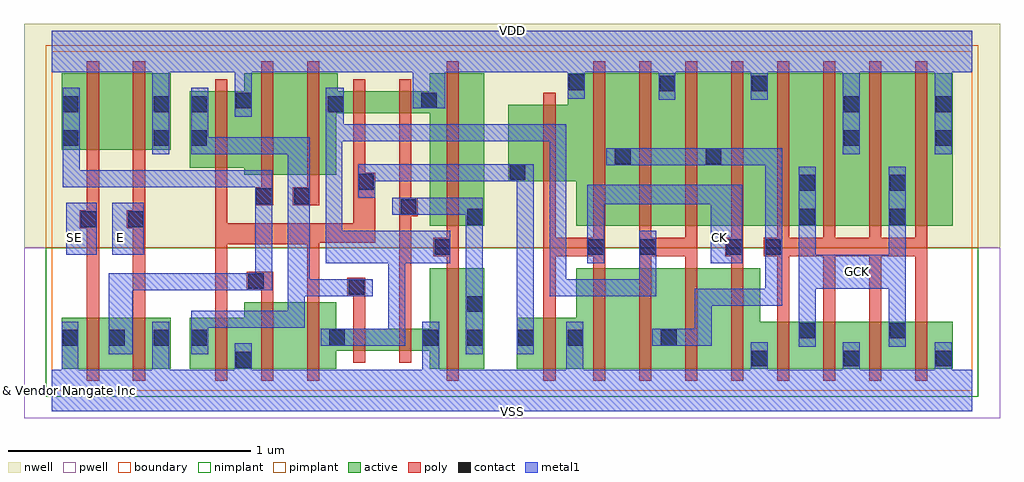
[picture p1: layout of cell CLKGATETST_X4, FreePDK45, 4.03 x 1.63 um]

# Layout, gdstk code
import gdstk
lib = gdstk.Library(unit=1e-6, precision=1e-10)
def R(c, l, rs):  # rectangles x0, y0, x1, y1
    for r in rs: c.add(gdstk.rectangle(r[:2], r[2:], *l))
def A(c, l, x, y, w, h, nx, ny, dx, dy):  # array of equal rectangles
    R(c, l, [(x+i*dx, y+j*dy, x+i*dx+w, y+j*dy+h) for i in range(nx) for j in range(ny)])
def P(c, l, *ps):  # polygons
    for p in ps: c.add(gdstk.Polygon(p, *l))
active = (1, 0)
pwell = (2, 0)
nwell = (3, 0)
nimplant = (4, 0)
pimplant = (5, 0)
poly = (9, 0)
contact = (10, 0)
metal1 = (11, 0)
boundary = (235, 0)

clkgatetst_x4 = lib.new_cell('CLKGATETST_X4')
R(clkgatetst_x4, active, [(0.04,0.09,0.49,0.3), (0.04,0.995,0.49,1.31)])
P(clkgatetst_x4, active, [(0.57,0.09),(0.57,0.3),(0.795,0.3),(0.795,0.365),(1.175,0.365),(1.175,0.255),(1.56,0.255),(1.56,0.505),(1.785,0.505),(1.785,0.09),(1.56,0.09),(1.56,0.165),(1.175,0.165),(1.175,0.09)],
  [(1.56,0.68),(1.56,1.145),(1.175,1.145),(1.175,0.89),(0.795,0.89),(0.795,0.92),(0.57,0.92),(0.57,1.235),(0.795,1.235),(0.795,1.31),(1.18,1.31),(1.18,1.235),(1.56,1.235),(1.56,1.31),(1.785,1.31),(1.785,0.68)],
  [(1.92,0.09),(1.92,0.3),(2.165,0.3),(2.165,0.505),(2.925,0.505),(2.925,0.285),(3.72,0.285),(3.72,0.09)],
  [(2.165,0.68),(2.165,0.865),(1.885,0.865),(1.885,1.18),(2.13,1.18),(2.13,1.31),(3.72,1.31),(3.72,0.68)])
R(clkgatetst_x4, pwell, [(-0.115,-0.115,3.915,0.59)])
R(clkgatetst_x4, nwell, [(-0.115,0.59,3.915,1.515)])
R(clkgatetst_x4, nimplant, [(-0.025,-0.025,3.825,0.59)])
R(clkgatetst_x4, pimplant, [(-0.025,0.59,3.825,1.425)])
P(clkgatetst_x4, poly, [(0.145,0.04),(0.145,0.67),(0.115,0.67),(0.115,0.745),(0.145,0.745),(0.145,1.36),(0.195,1.36),(0.195,0.04)],
  [(0.335,0.04),(0.335,0.67),(0.31,0.67),(0.31,0.745),(0.335,0.745),(0.335,1.36),(0.385,1.36),(0.385,0.04)],
  [(0.865,0.04),(0.865,0.415),(0.805,0.415),(0.805,0.49),(0.915,0.49),(0.915,0.04)],
  [(0.84,0.765),(0.84,0.84),(0.865,0.84),(0.865,1.36),(0.915,1.36),(0.915,0.765)],
  [(0.995,0.765),(0.995,0.84),(1.055,0.84),(1.055,1.36),(1.105,1.36),(1.105,0.765)],
  [(1.245,0.115),(1.245,0.39),(1.22,0.39),(1.22,0.465),(1.295,0.465),(1.295,0.115)],
  [(0.675,0.04),(0.675,1.285),(0.725,1.285),(0.725,0.69),(1.245,0.69),(1.245,1.285),(1.295,1.285),(1.295,0.9),(1.335,0.9),(1.335,0.61),(1.105,0.61),(1.105,0.04),(1.055,0.04),(1.055,0.605),(0.725,0.605),(0.725,0.04)],
  [(1.435,0.115),(1.435,1.285),(1.485,1.285),(1.485,0.795),(1.51,0.795),(1.51,0.72),(1.485,0.72),(1.485,0.115)],
  [(1.63,0.04),(1.63,0.555),(1.575,0.555),(1.575,0.63),(1.63,0.63),(1.63,1.36),(1.68,1.36),(1.68,0.04)],
  [(2.03,0.04),(2.03,1.23),(2.08,1.23),(2.08,0.63),(2.235,0.63),(2.235,1.36),(2.285,1.36),(2.285,0.04),(2.235,0.04),(2.235,0.555),(2.08,0.555),(2.08,0.04)],
  [(2.425,0.04),(2.425,1.36),(2.475,1.36),(2.475,0.63),(2.615,0.63),(2.615,1.36),(2.665,1.36),(2.665,0.04),(2.615,0.04),(2.615,0.555),(2.475,0.555),(2.475,0.04)],
  [(2.805,0.04),(2.805,0.555),(2.78,0.555),(2.78,0.63),(2.805,0.63),(2.805,1.36),(2.855,1.36),(2.855,0.04)],
  [(2.995,0.04),(2.995,0.555),(2.94,0.555),(2.94,0.63),(2.995,0.63),(2.995,1.36),(3.045,1.36),(3.045,0.63),(3.185,0.63),(3.185,1.36),(3.235,1.36),(3.235,0.63),(3.375,0.63),(3.375,1.36),(3.425,1.36),(3.425,0.63),(3.565,0.63),(3.565,1.36),(3.615,1.36),(3.615,0.04),(3.565,0.04),(3.565,0.555),(3.425,0.555),(3.425,0.04),(3.375,0.04),(3.375,0.555),(3.235,0.555),(3.235,0.04),(3.185,0.04),(3.185,0.555),(3.045,0.555),(3.045,0.04)])
A(clkgatetst_x4, contact, 2.89, 0.1, 0.065, 0.065, 3, 1, 0.38, 0)
R(clkgatetst_x4, contact, [(0.76,0.095,0.825,0.16), (0.045,0.185,0.11,0.25), (0.235,0.185,0.3,0.25), (0.42,0.185,0.485,0.25), (0.575,0.185,0.64,0.25), (1.145,0.185,1.21,0.25), (1.53,0.185,1.595,0.25), (1.715,0.185,1.78,0.25), (1.925,0.185,1.99,0.25), (2.13,0.185,2.195,0.25), (2.515,0.185,2.58,0.25), (3.085,0.215,3.15,0.28), (3.46,0.215,3.525,0.28), (1.715,0.325,1.78,0.39), (1.225,0.395,1.29,0.46), (0.81,0.42,0.875,0.485), (1.58,0.56,1.645,0.625), (2.215,0.56,2.28,0.625), (2.43,0.56,2.495,0.625), (2.785,0.56,2.85,0.625), (2.945,0.56,3.01,0.625), (0.12,0.675,0.185,0.74), (0.315,0.675,0.38,0.74), (1.715,0.685,1.78,0.75), (3.085,0.685,3.15,0.75), (3.46,0.685,3.525,0.75), (1.44,0.725,1.505,0.79), (0.845,0.77,0.91,0.835), (1,0.77,1.065,0.835), (3.085,0.825,3.15,0.89), (3.46,0.825,3.525,0.89), (1.265,0.83,1.33,0.895), (1.89,0.87,1.955,0.935), (2.325,0.935,2.39,1), (2.7,0.935,2.765,1), (0.045,1.01,0.11,1.075), (0.42,1.01,0.485,1.075), (0.575,1.01,0.64,1.075), (3.27,1.01,3.335,1.075), (3.65,1.01,3.715,1.075), (0.045,1.15,0.11,1.215), (0.42,1.15,0.485,1.215), (0.575,1.15,0.64,1.215), (1.14,1.15,1.205,1.215), (3.27,1.15,3.335,1.215), (3.65,1.15,3.715,1.215), (0.76,1.165,0.825,1.23), (1.525,1.165,1.59,1.23), (2.51,1.235,2.575,1.3), (2.89,1.235,2.955,1.3), (2.135,1.24,2.2,1.305)])
R(clkgatetst_x4, metal1, [(0.06,0.56,0.185,0.775), (0.25,0.56,0.38,0.775)])
P(clkgatetst_x4, metal1, [(0.235,0.15),(0.235,0.485),(0.84,0.485),(0.84,0.84),(0.045,0.84),(0.045,1.25),(0.115,1.25),(0.115,0.91),(0.91,0.91),(0.91,0.415),(0.335,0.415),(0.335,0.15)],
  [(0.575,0.15),(0.575,0.33),(0.975,0.33),(0.975,0.975),(0.575,0.975),(0.575,1.25),(0.645,1.25),(0.645,1.045),(1.065,1.045),(1.065,0.46),(1.325,0.46),(1.325,0.39),(1.045,0.39),(1.045,0.26),(0.645,0.26),(0.645,0.15)],
  [(1.71,0.15),(1.71,0.725),(1.405,0.725),(1.405,0.795),(1.78,0.795),(1.78,0.15)],
  [(1.92,0.15),(1.92,0.865),(1.335,0.865),(1.335,0.795),(1.265,0.795),(1.265,0.935),(1.99,0.935),(1.99,0.15)],
  [(1.11,0.185),(1.11,0.255),(1.39,0.255),(1.39,0.525),(1.13,0.525),(1.13,1.25),(1.205,1.25),(1.205,1.1),(2.125,1.1),(2.125,0.46),(2.425,0.46),(2.425,0.66),(2.495,0.66),(2.495,0.39),(2.055,0.39),(2.055,1.03),(1.2,1.03),(1.2,0.66),(1.645,0.66),(1.645,0.525),(1.46,0.525),(1.46,0.185)],
  [(2.21,0.525),(2.21,0.85),(2.85,0.85),(2.85,0.525),(2.72,0.525),(2.72,0.77),(2.28,0.77),(2.28,0.525)],
  [(2.48,0.185),(2.48,0.255),(2.655,0.255),(2.655,0.42),(2.945,0.42),(2.945,0.93),(2.29,0.93),(2.29,1),(3.015,1),(3.015,0.35),(2.725,0.35),(2.725,0.185)],
  [(3.085,0.18),(3.085,0.925),(3.155,0.925),(3.155,0.56),(3.455,0.56),(3.455,0.925),(3.525,0.925),(3.525,0.18),(3.455,0.18),(3.455,0.42),(3.155,0.42),(3.155,0.18)],
  [(0,-0.085),(0,0.085),(0.04,0.085),(0.04,0.285),(0.11,0.285),(0.11,0.085),(0.415,0.085),(0.415,0.285),(0.485,0.285),(0.485,0.085),(0.755,0.085),(0.755,0.195),(0.825,0.195),(0.825,0.085),(1.53,0.085),(1.53,0.285),(1.6,0.285),(1.6,0.085),(2.125,0.085),(2.125,0.285),(2.195,0.285),(2.195,0.085),(2.885,0.085),(2.885,0.2),(2.955,0.2),(2.955,0.085),(3.265,0.085),(3.265,0.2),(3.335,0.2),(3.335,0.085),(3.645,0.085),(3.645,0.2),(3.715,0.2),(3.715,0.085),(3.8,0.085),(3.8,-0.085)],
  [(0.415,0.975),(0.415,1.315),(0,1.315),(0,1.485),(3.8,1.485),(3.8,1.315),(3.715,1.315),(3.715,0.975),(3.645,0.975),(3.645,1.315),(3.335,1.315),(3.335,0.975),(3.265,0.975),(3.265,1.315),(2.955,1.315),(2.955,1.2),(2.885,1.2),(2.885,1.315),(2.575,1.315),(2.575,1.2),(2.505,1.2),(2.505,1.315),(2.2,1.315),(2.2,1.205),(2.13,1.205),(2.13,1.315),(1.625,1.315),(1.625,1.165),(1.49,1.165),(1.49,1.315),(0.825,1.315),(0.825,1.13),(0.755,1.13),(0.755,1.315),(0.485,1.315),(0.485,0.975)])
R(clkgatetst_x4, boundary, [(0,0,3.8,1.4)])
clkgatetst_x4.add(gdstk.Label('CK', (2.755,0.63), layer=11, texttype=0))
clkgatetst_x4.add(gdstk.Label('E', (0.285,0.63), layer=11, texttype=0))
clkgatetst_x4.add(gdstk.Label('GCK', (3.325,0.49), layer=11, texttype=0))
clkgatetst_x4.add(gdstk.Label('SE', (0.095,0.63), layer=11, texttype=0))
clkgatetst_x4.add(gdstk.Label('VDD', (1.9,1.485), layer=11, texttype=0))
clkgatetst_x4.add(gdstk.Label('VSS', (1.9,-0.085), layer=11, texttype=0))
clkgatetst_x4.add(gdstk.Label('& Vendor Nangate Inc', (0,0), layer=63, texttype=63))
clkgatetst_x4.add(gdstk.Label('& Product Open Cell Library', (0,0), layer=63, texttype=63))
clkgatetst_x4.add(gdstk.Label('& Version 2010_12', (0,0), layer=63, texttype=63))
clkgatetst_x4.add(gdstk.Label('& Instance CLKGATETST_X4', (0,0), layer=63, texttype=63))

lib.write_gds('CLKGATETST_X4.gds')
